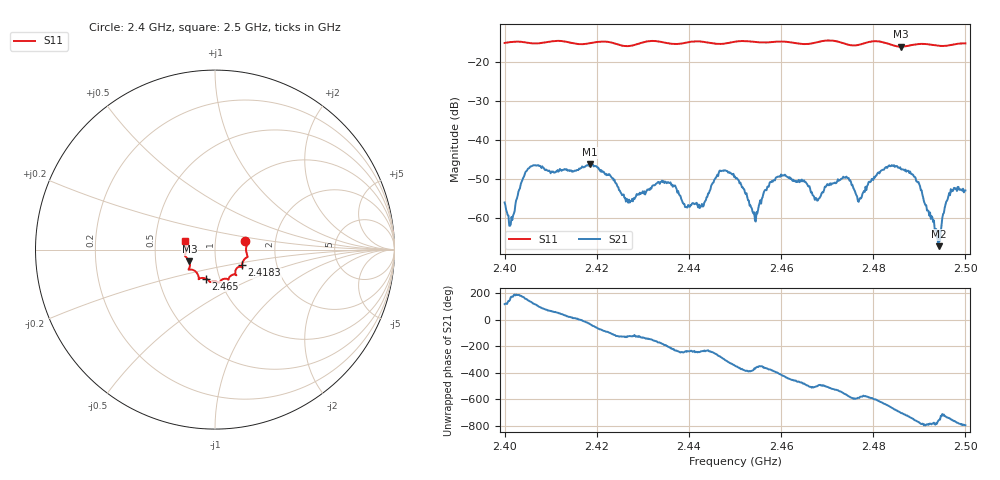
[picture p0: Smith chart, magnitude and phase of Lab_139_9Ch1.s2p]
# Hz S RI R 50
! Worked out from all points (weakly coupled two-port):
!   601 points, 2.4 GHz to 2.5 GHz, reference 50 ohm
!   highest |S21| = -46.13 dB at 2.4185 GHz (marker M1); lowest = -67.1 dB at 2.4942 GHz (marker M2)
!   lowest |S11| = -16.1 dB at 2.486 GHz (marker M3), VSWR 1.37, Z = 37.2 - j5 ohm
!   |S11| at or under -10 dB: start of sweep to end of sweep
!   S12 and S22 are empty: the file has one direction only
!   S11 on the Smith chart (normalised r, x): 2.4 GHz: 1.40, +0.14; 2.4183 GHz: 1.33, -0.24; 2.465 GHz: 0.86, -0.28; 2.5 GHz: 0.71, +0.07
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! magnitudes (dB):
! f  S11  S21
! 2.4 GHz  -15.1  -55.9
! 2.4015 GHz  -14.9  -59.6
! 2.406 GHz  -15.2  -46.6
! 2.4167 GHz  -15.4  -47.1
! 2.4183 GHz  -15.2  -46.5
! 2.4185 GHz  -15.2  -46.1
! 2.4268 GHz  -15.9  -56.0
! 2.4333 GHz  -14.7  -50.7
! 2.4425 GHz  -14.7  -56.7
! 2.447 GHz  -15.4  -47.9
! 2.45 GHz  -14.8  -49.3
! 2.4543 GHz  -14.9  -60.5
! 2.4592 GHz  -14.8  -49.4
! 2.465 GHz  -15.4  -50.2
! 2.4667 GHz  -15.2  -53.3
! 2.474 GHz  -15.4  -49.6
! 2.477 GHz  -15.6  -55.1
! 2.4833 GHz  -15.3  -46.5
! 2.486 GHz  -16.1  -47.4
! 2.4942 GHz  -15.8  -67.1
! 2.4967 GHz  -15.7  -54.1
! 2.5 GHz  -15.2  -52.8
